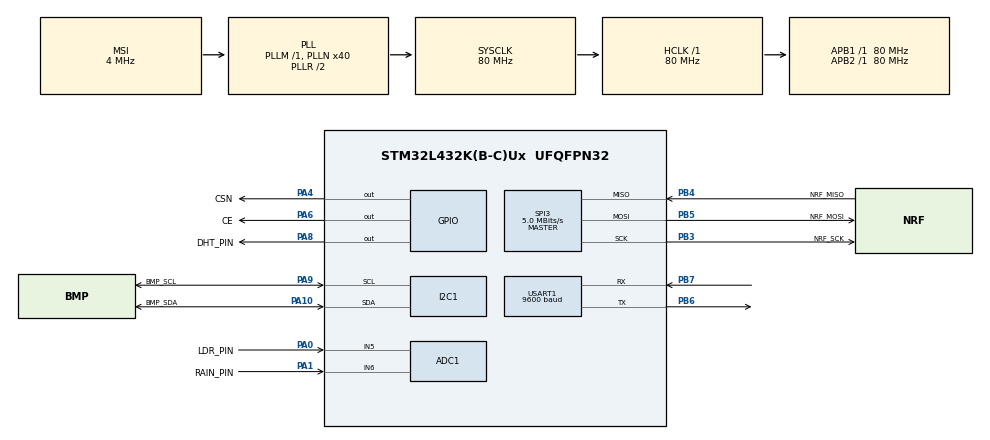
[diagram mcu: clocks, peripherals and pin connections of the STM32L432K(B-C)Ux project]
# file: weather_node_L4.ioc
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ADC1.Channel-0\#ChannelRegularConversion=ADC_CHANNEL_5
ADC1.Channel-1\#ChannelRegularConversion=ADC_CHANNEL_6
ADC1.NbrOfConversion=2
ADC1.NbrOfConversionFlag=1
ADC1.OffsetNumber-0\#ChannelRegularConversion=ADC_OFFSET_NONE
ADC1.OffsetNumber-1\#ChannelRegularConversion=ADC_OFFSET_NONE
ADC1.Rank-0\#ChannelRegularConversion=1
ADC1.Rank-1\#ChannelRegularConversion=2
ADC1.SamplingTime-0\#ChannelRegularConversion=ADC_SAMPLETIME_2CYCLES_5
ADC1.SamplingTime-1\#ChannelRegularConversion=ADC_SAMPLETIME_2CYCLES_5
ADC1.master=1
Dma.ADC1.0.Direction=DMA_PERIPH_TO_MEMORY
Dma.ADC1.0.Instance=DMA1_Channel1
Dma.ADC1.0.MemDataAlignment=DMA_MDATAALIGN_WORD
Dma.ADC1.0.MemInc=DMA_MINC_ENABLE
Dma.ADC1.0.Mode=DMA_CIRCULAR
Dma.ADC1.0.PeriphDataAlignment=DMA_PDATAALIGN_WORD
Dma.ADC1.0.PeriphInc=DMA_PINC_DISABLE
Dma.ADC1.0.Priority=DMA_PRIORITY_LOW
Dma.Request0=ADC1
I2C1.Timing=0x10909CEC
LPTIM2.ClockPrescaler=LPTIM_PRESCALER_DIV1
Mcu.Family=STM32L4
Mcu.Name=STM32L432K(B-C)Ux
Mcu.Package=UFQFPN32
NVIC.DMA1_Channel1_IRQn=true\:0\:0\:false\:false\:true\:false\:true\:true
NVIC.LPTIM2_IRQn=true\:0\:0\:false\:false\:true\:true\:true\:true
NVIC.PriorityGroup=NVIC_PRIORITYGROUP_4
PA0.GPIO_Label=LDR_PIN
PA0.Signal=ADCx_IN5
PA1.GPIO_Label=RAIN_PIN
PA1.Signal=ADCx_IN6
PA10.GPIO_Label=BMP_SDA
PA10.Mode=I2C
PA10.Signal=I2C1_SDA
PA13\ (JTMS-SWDIO).Mode=Serial_Wire
PA13\ (JTMS-SWDIO).Signal=SYS_JTMS-SWDIO
PA14\ (JTCK-SWCLK).Mode=Serial_Wire
PA14\ (JTCK-SWCLK).Signal=SYS_JTCK-SWCLK
PA4.GPIO_Label=CSN
PA4.Signal=GPIO_Output
PA6.GPIO_Label=CE
PA6.Signal=GPIO_Output
PA8.GPIO_Label=DHT_PIN
PA8.Signal=GPIO_Output
PA9.GPIO_Label=BMP_SCL
PA9.Mode=I2C
PA9.Signal=I2C1_SCL
PB3\ (JTDO-TRACESWO).GPIO_Label=NRF_SCK
PB3\ (JTDO-TRACESWO).Mode=Full_Duplex_Master
PB3\ (JTDO-TRACESWO).Signal=SPI3_SCK
PB4\ (NJTRST).GPIO_Label=NRF_MISO
PB4\ (NJTRST).Mode=Full_Duplex_Master
PB4\ (NJTRST).Signal=SPI3_MISO
PB5.GPIO_Label=NRF_MOSI
PB5.Mode=Full_Duplex_Master
PB5.Signal=SPI3_MOSI
PB6.Mode=Asynchronous
PB6.Signal=USART1_TX
PB7.Mode=Asynchronous
PB7.Signal=USART1_RX
PC14-OSC32_IN\ (PC14).Mode=LSE-External-Oscillator
PC14-OSC32_IN\ (PC14).Signal=RCC_OSC32_IN
PC15-OSC32_OUT\ (PC15).Mode=LSE-External-Oscillator
PC15-OSC32_OUT\ (PC15).Signal=RCC_OSC32_OUT
ProjectManager.HeapSize=0x200
ProjectManager.StackSize=0x400
ProjectManager.TargetToolchain=STM32CubeIDE
RCC.ADCFreq_Value=32000000
RCC.AHBFreq_Value=80000000
RCC.APB1Freq_Value=80000000
RCC.APB1TimFreq_Value=80000000
RCC.APB2Freq_Value=80000000
RCC.APB2TimFreq_Value=80000000
RCC.CortexFreq_Value=80000000
RCC.HCLKFreq_Value=80000000
RCC.HSE_VALUE=8000000
RCC.HSI16_VALUE=16000000
RCC.HSI48_VALUE=48000000
RCC.HSI_VALUE=16000000
RCC.LPTIM2CLockSelection=RCC_LPTIM2CLKSOURCE_LSI
RCC.MSI_VALUE=4000000
RCC.PLLMUL=RCC_PLLMUL_4
RCC.PLLN=40
RCC.PLLSAI1N=16
RCC.SYSCLKFreq_VALUE=80000000
RCC.SYSCLKSource=RCC_SYSCLKSOURCE_PLLCLK
RCC.USBFreq_Value=32000000
RCC.VCOOutputFreq_Value=160000000
SH.ADCx_IN5.0=ADC1_IN5,IN5-Single-Ended
SH.ADCx_IN6.0=ADC1_IN6,IN6-Single-Ended
SPI3.BaudRatePrescaler=SPI_BAUDRATEPRESCALER_16
SPI3.CalculateBaudRate=5.0 MBits/s
SPI3.DataSize=SPI_DATASIZE_8BIT
SPI3.Direction=SPI_DIRECTION_2LINES
SPI3.Mode=SPI_MODE_MASTER
SPI3.VirtualType=VM_MASTER
TIM2.Prescaler=80
USART1.BaudRate=9600
USART1.Mode=MODE_TX
USART1.VirtualMode-Asynchronous=VM_ASYNC
VP_LPTIM2_VS_LPTIM_counterModeInternalClock.Mode=Counts__internal_clock_event_00
VP_TIM2_VS_ClockSourceINT.Mode=Internal
board=NUCLEO-L432KC

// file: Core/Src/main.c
/* USER CODE BEGIN Header */
/**
  ******************************************************************************
  * @file           : main.c
  * @brief          : Main program body
  ******************************************************************************
  * @attention
  *
  * Copyright (c) 2024 STMicroelectronics.
  * All rights reserved.
  *
  * This software is licensed under terms that can be found in the LICENSE file
  * in the root directory of this software component.
  * If no LICENSE file comes with this software, it is provided AS-IS.
  *
  ******************************************************************************
  */
/* USER CODE END Header */
#include "main.h"
#include "adc.h"
#include "dma.h"
#include "i2c.h"
#include "lptim.h"
#include "spi.h"
#include "tim.h"
#include "usart.h"
#include "gpio.h"

/* USER CODE BEGIN Includes */
#include "dht.h"
#include "bmp.h"
#include "nrf24.h"
#include <string.h>
/* USER CODE END Includes */

/* USER CODE BEGIN PV */
extern nRF24_TXResult tx_res;

uint8_t txBuf[20];
uint8_t txBufLen = 20;

static const uint8_t nRF24_ADDR2[] = { 0xE7, 0x1C, 0xE6 };

uint8_t radioCheck = 0;
uint8_t txSuccess = 10;

uint32_t analog_vals[2] = {0};
uint16_t ldr_voltage=0,raindrops_voltage=0;

// Buffer for transmission
uint8_t transmit_buffer[32];
uint8_t transmit_buffer_len = 32;

// Read temperature and pressure from BMP180
uint16_t u_temp = 0;
uint32_t u_press = 0;
float temp = 0.0;
float press = 0.0;

DHT11_InitTypeDef dht;
DHT11_StatusTypeDef err;

bmp_calib_t bmp_calib_data = {0};

// Convert float values into byte arrays
union
{
	float f_val;
	uint8_t f_val_buffer[4];
}temp_buffer,press_buffer,dht_temp_buffer,dht_hum_buffer;
/* USER CODE END PV */

void SystemClock_Config(void);
/* USER CODE BEGIN PFP */
void radioSetup(void);
/* USER CODE END PFP */

/* USER CODE BEGIN 0 */
void HAL_ADC_ConvCpltCallback(ADC_HandleTypeDef *hadc)
{
	ldr_voltage = (uint16_t) analog_vals[0];
	raindrops_voltage = (uint16_t) analog_vals[1];
}
/* USER CODE END 0 */

int main(void)
{

  /* MCU Configuration--------------------------------------------------------*/

  /* Reset of all peripherals, Initializes the Flash interface and the Systick. */
  HAL_Init();

  /* Configure the system clock */
  SystemClock_Config();

  /* Initialize all configured peripherals */
  MX_GPIO_Init();
  MX_DMA_Init();
  MX_ADC1_Init();
  MX_I2C1_Init();
  MX_TIM2_Init();
  MX_USART1_UART_Init();
  MX_LPTIM2_Init();
  MX_SPI3_Init();
  /* USER CODE BEGIN 2 */
  HAL_LPTIM_TimeOut_Start_IT(&hlptim2,65535,19999);
  HAL_DHT11_Init(&dht, DHT_PIN_GPIO_Port, DHT_PIN_Pin, &htim2);
  read_calibration_data(&hi2c1,&bmp_calib_data);

  nRF24_CE_L();
  radioCheck = nRF24_Check();
  radioSetup();
  //runRadio();

  /* USER CODE END 2 */

  /* Infinite loop */
  /* USER CODE BEGIN WHILE */
  while (1)
  {

	u_temp = get_uncomp_temp(&hi2c1,&bmp_calib_data);
	u_press = get_uncomp_press(&hi2c1,&bmp_calib_data);

	// Read LDR and Raindrop sensor analog voltages
	HAL_ADC_Start_DMA(&hadc1,analog_vals,2);

	// Read float values
	temp_buffer.f_val = get_comp_temp(u_temp,&bmp_calib_data);
	press_buffer.f_val = get_comp_press(u_temp,u_press,&bmp_calib_data);
	HAL_DHT11_ReadData(&dht);
	dht_temp_buffer.f_val = dht.Temperature;
	dht_hum_buffer.f_val = dht.Humidity;

	// First 16 bytes for float readings
	for(int i=0;i<4;i++)
	{
		transmit_buffer[i] = temp_buffer.f_val_buffer[i];
		transmit_buffer[i+4] = press_buffer.f_val_buffer[i];
		transmit_buffer[i+8] = dht_temp_buffer.f_val_buffer[i];
		transmit_buffer[i+12] = dht_hum_buffer.f_val_buffer[i];
	}

	transmit_buffer[16] = (uint8_t) (ldr_voltage & 0x00FF);
	transmit_buffer[17] = (uint8_t) ((ldr_voltage & 0xFF00)>>8);

	transmit_buffer[18] = (uint8_t) (raindrops_voltage & 0x00FF);
	transmit_buffer[19] = (uint8_t) ((raindrops_voltage & 0xFF00)>>8);

	tx_res = nRF24_TransmitPacket(transmit_buffer, transmit_buffer_len);

	HAL_UART_Transmit(&huart1,transmit_buffer,20,1000);

	//HAL_Delay(100);
	// Not needed due to sleep
	//HAL_Delay(500);
	HAL_SuspendTick();
	HAL_PWR_EnterSLEEPMode(PWR_MAINREGULATOR_ON, PWR_SLEEPENTRY_WFI);

    /* USER CODE END WHILE */

  }
}

void SystemClock_Config(void)
{
  RCC_OscInitTypeDef RCC_OscInitStruct = {0};
  RCC_ClkInitTypeDef RCC_ClkInitStruct = {0};

  /** Configure the main internal regulator output voltage
  */
  if (HAL_PWREx_ControlVoltageScaling(PWR_REGULATOR_VOLTAGE_SCALE1) != HAL_OK)
  {
    Error_Handler();
  }

  /** Configure LSE Drive Capability
  */
  HAL_PWR_EnableBkUpAccess();
  __HAL_RCC_LSEDRIVE_CONFIG(RCC_LSEDRIVE_LOW);

  /** Initializes the RCC Oscillators according to the specified parameters
  * in the RCC_OscInitTypeDef structure.
  */
  RCC_OscInitStruct.OscillatorType = RCC_OSCILLATORTYPE_LSI|RCC_OSCILLATORTYPE_LSE
                              |RCC_OSCILLATORTYPE_MSI;
  RCC_OscInitStruct.LSEState = RCC_LSE_ON;
  RCC_OscInitStruct.LSIState = RCC_LSI_ON;
  RCC_OscInitStruct.MSIState = RCC_MSI_ON;
  RCC_OscInitStruct.MSICalibrationValue = 0;
  RCC_OscInitStruct.MSIClockRange = RCC_MSIRANGE_6;
  RCC_OscInitStruct.PLL.PLLState = RCC_PLL_ON;
  RCC_OscInitStruct.PLL.PLLSource = RCC_PLLSOURCE_MSI;
  RCC_OscInitStruct.PLL.PLLM = 1;
  RCC_OscInitStruct.PLL.PLLN = 40;
  RCC_OscInitStruct.PLL.PLLP = RCC_PLLP_DIV7;
  RCC_OscInitStruct.PLL.PLLQ = RCC_PLLQ_DIV2;
  RCC_OscInitStruct.PLL.PLLR = RCC_PLLR_DIV2;
  if (HAL_RCC_OscConfig(&RCC_OscInitStruct) != HAL_OK)
  {
    Error_Handler();
  }

  /** Initializes the CPU, AHB and APB buses clocks
  */
  RCC_ClkInitStruct.ClockType = RCC_CLOCKTYPE_HCLK|RCC_CLOCKTYPE_SYSCLK
                              |RCC_CLOCKTYPE_PCLK1|RCC_CLOCKTYPE_PCLK2;
  RCC_ClkInitStruct.SYSCLKSource = RCC_SYSCLKSOURCE_PLLCLK;
  RCC_ClkInitStruct.AHBCLKDivider = RCC_SYSCLK_DIV1;
  RCC_ClkInitStruct.APB1CLKDivider = RCC_HCLK_DIV1;
  RCC_ClkInitStruct.APB2CLKDivider = RCC_HCLK_DIV1;

  if (HAL_RCC_ClockConfig(&RCC_ClkInitStruct, FLASH_LATENCY_4) != HAL_OK)
  {
    Error_Handler();
  }

  /** Enable MSI Auto calibration
  */
  HAL_RCCEx_EnableMSIPLLMode();
}

/* USER CODE BEGIN 4 */
void radioSetup(void){
	// This is simple transmitter (to multiple logic addresses):
	//   - TX addresses and payload lengths:
	//       'WBC', 11 bytes
	//       '0xE7 0x1C 0xE3', 5 bytes
	//       '0xE7 0x1C 0xE6', 32 bytes
	//   - RF channel: 115 (2515MHz)
	//   - data rate: 250kbps (minimum possible, to increase reception reliability)
	//   - CRC scheme: 2 byte

	// The transmitter sends a data packets to the three logic addresses without Auto-ACK (ShockBurst disabled)
	// The payload length depends on the logic address

	// Disable ShockBurst for all RX pipes
	nRF24_DisableAA(0xFF);

	    // Set RF channel
	    nRF24_SetRFChannel(115);

	    // Set data rate
	    nRF24_SetDataRate(nRF24_DR_250kbps);

	    // Set CRC scheme
	    nRF24_SetCRCScheme(nRF24_CRC_2byte);

	    // Set address width, its common for all pipes (RX and TX)
	    nRF24_SetAddrWidth(3);

	    // Set TX power (maximum)
	    nRF24_SetTXPower(nRF24_TXPWR_0dBm);

	    // Set operational mode (PTX == transmitter)
	    nRF24_SetOperationalMode(nRF24_MODE_TX);

	    // Clear any pending IRQ flags
	    nRF24_ClearIRQFlags();

	    // Wake the transceiver
	    nRF24_SetPowerMode(nRF24_PWR_UP);

	    //static const uint8_t nRF24_ADDR0[] = { 'W', 'B', 'C' };
	    //static const uint8_t nRF24_ADDR1[] = { 0xE7, 0x1C, 0xE3 };
	    static const uint8_t nRF24_ADDR2[] = { 0xE7, 0x1C, 0xE6 };

	    nRF24_SetAddr(nRF24_PIPETX, nRF24_ADDR2);

}

void UART_SendChar(char b) {
	HAL_UART_Transmit(&huart1, (uint8_t *) &b, 1, 200);
}

void UART_SendStr(char *string) {
	HAL_UART_Transmit(&huart1, (uint8_t *) string, (uint16_t) strlen(string), 200);
}

void UART_SendInt(int32_t num) {
	char str[10]; // 10 chars max for INT32_MAX
	int i = 0;
	if (num < 0) {
		UART_SendChar('-');
		num *= -1;
	}
	do str[i++] = (char) (num % 10 + '0'); while ((num /= 10) > 0);
	for (i--; i >= 0; i--) UART_SendChar(str[i]);
}

void testRadio(void) {
	/*
	UART_SendStr("ADDR#");
	UART_SendInt(2);
	*/

	//nRF24_SetAddr(nRF24_PIPETX, nRF24_ADDR2);
	txBufLen = 20;
	uint8_t txBuf[20]={0};

	// Prepare data packet
	for (int i = 0; i < txBufLen; i++) {
		txBuf[i] = i;
		//if (j > 0x000000FF) j = 0;
	}
	/*
	// Print a payload
	UART_SendStr(" PAYLOAD:>");
	UART_SendBufHex((char *)txBuf, txBufLen);
	UART_SendStr("< ... TX: ");
	*/
	// Transmit a packet
	/*
	nRF24_TX_ERROR  = (uint8_t)0x00, // Unknown error
	nRF24_TX_SUCCESS,                // Packet has been transmitted successfully
	nRF24_TX_TIMEOUT,                // It was timeout during packet transmit
	nRF24_TX_MAXRT
	*/
	tx_res = nRF24_TransmitPacket(txBuf, txBufLen);
	uint8_t ok_str[] = "ok";
	uint8_t time_str[] = "timeout";
	uint8_t mret_str[] = "max retransmit";
	uint8_t err_str[] = "error";
	switch (tx_res) {
		case nRF24_TX_SUCCESS:
			HAL_UART_Transmit(&huart1,ok_str,sizeof(ok_str),100);
			break;
		case nRF24_TX_TIMEOUT:
			HAL_UART_Transmit(&huart1,time_str,sizeof(time_str),100);
			break;
		case nRF24_TX_MAXRT:
			HAL_UART_Transmit(&huart1,mret_str,sizeof(mret_str),100);
			break;
		default:
			HAL_UART_Transmit(&huart1,err_str,sizeof(err_str),100);
			break;
	}
}

void HAL_LPTIM_CompareMatchCallback(LPTIM_HandleTypeDef *hlptim)
{
  /* Timeout was reached, turn on LED3 */
  HAL_ResumeTick();
  HAL_GPIO_TogglePin(GPIOB,GPIO_PIN_3);
}
/* USER CODE END 4 */

void Error_Handler(void)
{
  __disable_irq();
  while (1)
  {
  }
}
